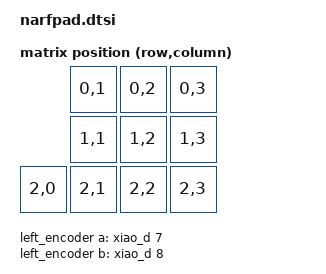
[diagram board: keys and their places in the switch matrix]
/*
 * Copyright (c) 2022 The ZMK Contributors
 *
 * SPDX-License-Identifier: MIT
 */

#include <dt-bindings/zmk/matrix_transform.h>

/ {
    chosen {
        zmk,kscan = &kscan0;
        zmk,matrix_transform = &default_transform;

    };

    left_encoder: encoder_left {
        compatible = "alps,ec11";
        a-gpios = <&xiao_d 7 (GPIO_ACTIVE_HIGH | GPIO_PULL_UP)>;
        b-gpios = <&xiao_d 8 (GPIO_ACTIVE_HIGH | GPIO_PULL_UP)>;
        steps = <80>;
        status = "disabled";
    };



    default_transform: keymap_transform_0 {
        compatible = "zmk,matrix-transform";
        columns = <4>;
        rows = <3>;
        map = <

                RC(0,1) RC(0,2) RC(0,3)
		        RC(1,1) RC(1,2) RC(1,3)
		RC(2,0) RC(2,1) RC(2,2) RC(2,3)
        >;
    };
};
